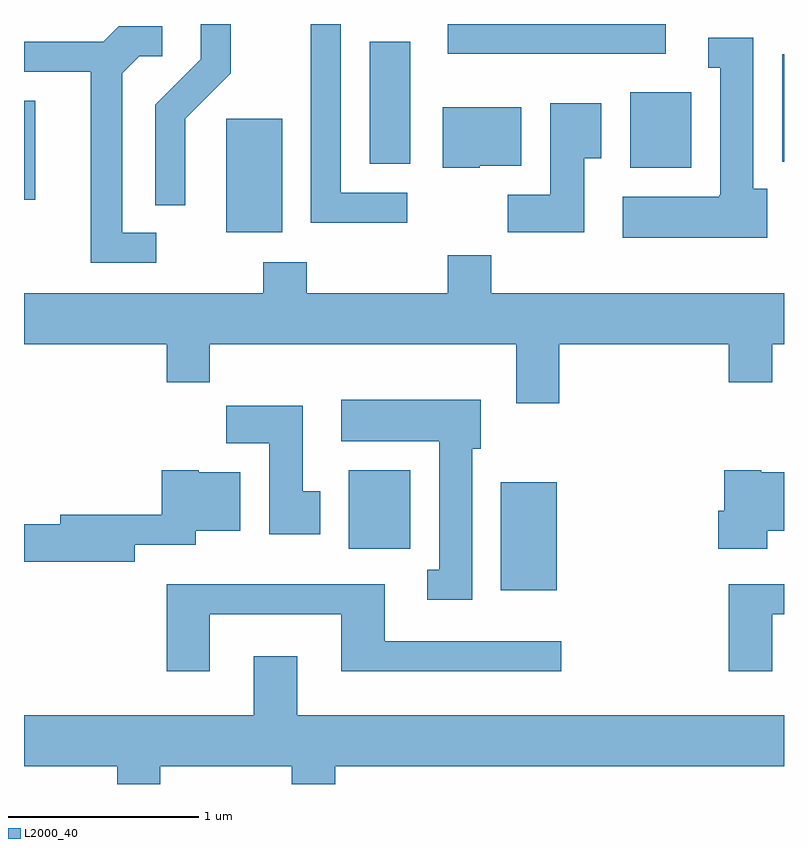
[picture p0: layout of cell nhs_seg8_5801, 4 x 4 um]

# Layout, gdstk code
import gdstk
lib = gdstk.Library(unit=1e-6, precision=1e-09)
def R(c, l, rs):  # rectangles x0, y0, x1, y1
    for r in rs: c.add(gdstk.rectangle(r[:2], r[2:], *l))
def P(c, l, *ps):  # polygons
    for p in ps: c.add(gdstk.Polygon(p, *l))
L2000_40 = (2000, 40)

nhs_seg8_5801 = lib.new_cell('nhs_seg8_5801')
R(nhs_seg8_5801, L2000_40, [(362.121,1817.361,362.414,1817.929), (361.321,1817.581,361.644,1817.994), (360.676,1819.246,360.969,1819.844), (359.611,1819.416,359.669,1819.939), (362.801,1819.586,363.124,1819.984), (361.431,1819.606,361.644,1820.249), (363.601,1819.616,363.611,1820.184), (361.841,1820.186,362.989,1820.342)])
P(nhs_seg8_5801, L2000_40, [(361.628,1819.454),(361.279,1819.454),(361.279,1820.342),(361.121,1820.342),(361.121,1819.296),(361.628,1819.296)],
  [(360.459,1819.844),(360.699,1820.084),(360.699,1820.342),(360.541,1820.342),(360.541,1820.157),(360.301,1819.917),(360.301,1819.388),(360.459,1819.388)],
  [(360.308,1819.244),(360.129,1819.244),(360.129,1820.084),(360.217,1820.171),(360.338,1820.171),(360.338,1820.329),(360.109,1820.329),(360.029,1820.249),(359.611,1820.249),(359.611,1820.091),(359.961,1820.091),(359.961,1819.086),(360.308,1819.086)],
  [(363.524,1819.474),(363.449,1819.474),(363.449,1820.269),(363.213,1820.269),(363.213,1820.111),(363.276,1820.111),(363.276,1819.44),(363.27,1819.44),(363.27,1819.434),(362.761,1819.434),(362.761,1819.216),(363.524,1819.216)],
  [(362.559,1819.636),(362.649,1819.636),(362.649,1819.924),(362.381,1819.924),(362.381,1819.444),(362.156,1819.444),(362.156,1819.246),(362.559,1819.246)],
  [(362.01,1819.596),(362.229,1819.596),(362.229,1819.904),(361.816,1819.904),(361.816,1819.586),(362.01,1819.586)],
  [(362.429,1818.656),(363.321,1818.656),(363.321,1818.456),(363.549,1818.456),(363.549,1818.656),(363.611,1818.656),(363.611,1818.924),(362.069,1818.924),(362.069,1819.124),(361.841,1819.124),(361.841,1818.924),(361.099,1818.924),(361.099,1819.089),(360.871,1819.089),(360.871,1818.924),(359.611,1818.924),(359.611,1818.656),(360.361,1818.656),(360.361,1818.456),(360.589,1818.456),(360.589,1818.656),(362.201,1818.656),(362.201,1818.346),(362.429,1818.346)],
  [(361.969,1818.106),(362.014,1818.106),(362.014,1818.364),(361.281,1818.364),(361.281,1818.146),(361.796,1818.146),(361.796,1817.469),(361.733,1817.469),(361.733,1817.311),(361.969,1817.311)],
  [(361.169,1817.884),(361.079,1817.884),(361.079,1818.334),(360.676,1818.334),(360.676,1818.136),(360.901,1818.136),(360.901,1817.656),(361.169,1817.656)],
  [(363.524,1817.676),(363.611,1817.676),(363.611,1817.984),(363.49,1817.984),(363.49,1817.994),(363.296,1817.994),(363.296,1817.779),(363.266,1817.779),(363.266,1817.581),(363.524,1817.581)],
  [(360.194,1817.601),(360.514,1817.601),(360.514,1817.676),(360.749,1817.676),(360.749,1817.984),(360.53,1817.984),(360.53,1817.994),(360.336,1817.994),(360.336,1817.759),(359.801,1817.759),(359.801,1817.709),(359.611,1817.709),(359.611,1817.511),(360.194,1817.511)],
  [(360.589,1817.236),(361.281,1817.236),(361.281,1816.936),(362.438,1816.936),(362.438,1817.094),(361.509,1817.094),(361.509,1817.394),(360.361,1817.394),(360.361,1816.936),(360.589,1816.936)],
  [(363.549,1817.236),(363.611,1817.236),(363.611,1817.394),(363.321,1817.394),(363.321,1816.936),(363.549,1816.936)],
  [(360.329,1816.436),(361.021,1816.436),(361.021,1816.342),(361.249,1816.342),(361.249,1816.436),(363.611,1816.436),(363.611,1816.704),(361.049,1816.704),(361.049,1817.014),(360.821,1817.014),(360.821,1816.704),(359.611,1816.704),(359.611,1816.436),(360.101,1816.436),(360.101,1816.342),(360.329,1816.342)])

lib.write_gds('nhs_seg8_5801.gds')
